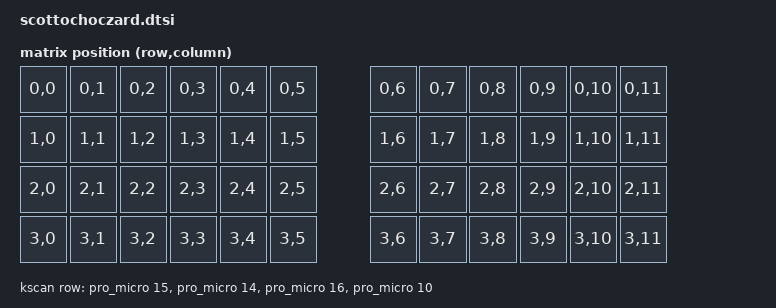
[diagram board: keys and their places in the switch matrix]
#include <physical_layouts.dtsi>
#include <dt-bindings/zmk/matrix_transform.h>

/ {
    chosen {
        zmk,physical-layout = &layout;
    };

    kscan: kscan {
        compatible = "zmk,kscan-gpio-matrix";
        diode-direction = "col2row";

        row-gpios = <&pro_micro 15 (GPIO_ACTIVE_HIGH | GPIO_PULL_DOWN)>,
                    <&pro_micro 14 (GPIO_ACTIVE_HIGH | GPIO_PULL_DOWN)>,
                    <&pro_micro 16 (GPIO_ACTIVE_HIGH | GPIO_PULL_DOWN)>,
                    <&pro_micro 10 (GPIO_ACTIVE_HIGH | GPIO_PULL_DOWN)>;
    };

    transform: matrix_transform {
        compatible = "zmk,matrix-transform";
        rows = <4>;
        columns = <12>;

        map = <
                RC(0, 0) RC(0, 1) RC(0, 2) RC(0, 3) RC(0, 4) RC(0, 5) RC(0, 6) RC(0, 7) RC(0, 8) RC(0, 9) RC(0, 10) RC(0, 11)
                RC(1, 0) RC(1, 1) RC(1, 2) RC(1, 3) RC(1, 4) RC(1, 5) RC(1, 6) RC(1, 7) RC(1, 8) RC(1, 9) RC(1, 10) RC(1, 11)
                RC(2, 0) RC(2, 1) RC(2, 2) RC(2, 3) RC(2, 4) RC(2, 5) RC(2, 6) RC(2, 7) RC(2, 8) RC(2, 9) RC(2, 10) RC(2, 11)
                RC(3, 0) RC(3, 1) RC(3, 2) RC(3, 3) RC(3, 4) RC(3, 5) RC(3, 6) RC(3, 7) RC(3, 8) RC(3, 9) RC(3, 10) RC(3, 11)
        >;
    };

    layout: layout {
        compatible = "zmk,physical-layout";
        display-name = "Split Ortho 4x6";
        transform = <&transform>;
        kscan = <&kscan>;

        keys  //                     w   h    x    y     rot    rx    ry
            = <&key_physical_attrs 100 100    0    0       0     0     0>
            , <&key_physical_attrs 100 100  100    0       0     0     0>
            , <&key_physical_attrs 100 100  200    0       0     0     0>
            , <&key_physical_attrs 100 100  300    0       0     0     0>
            , <&key_physical_attrs 100 100  400    0       0     0     0>
            , <&key_physical_attrs 100 100  500    0       0     0     0>
            , <&key_physical_attrs 100 100  700    0       0     0     0>
            , <&key_physical_attrs 100 100  800    0       0     0     0>
            , <&key_physical_attrs 100 100  900    0       0     0     0>
            , <&key_physical_attrs 100 100 1000    0       0     0     0>
            , <&key_physical_attrs 100 100 1100    0       0     0     0>
            , <&key_physical_attrs 100 100 1200    0       0     0     0>
            , <&key_physical_attrs 100 100    0  100       0     0     0>
            , <&key_physical_attrs 100 100  100  100       0     0     0>
            , <&key_physical_attrs 100 100  200  100       0     0     0>
            , <&key_physical_attrs 100 100  300  100       0     0     0>
            , <&key_physical_attrs 100 100  400  100       0     0     0>
            , <&key_physical_attrs 100 100  500  100       0     0     0>
            , <&key_physical_attrs 100 100  700  100       0     0     0>
            , <&key_physical_attrs 100 100  800  100       0     0     0>
            , <&key_physical_attrs 100 100  900  100       0     0     0>
            , <&key_physical_attrs 100 100 1000  100       0     0     0>
            , <&key_physical_attrs 100 100 1100  100       0     0     0>
            , <&key_physical_attrs 100 100 1200  100       0     0     0>
            , <&key_physical_attrs 100 100    0  200       0     0     0>
            , <&key_physical_attrs 100 100  100  200       0     0     0>
            , <&key_physical_attrs 100 100  200  200       0     0     0>
            , <&key_physical_attrs 100 100  300  200       0     0     0>
            , <&key_physical_attrs 100 100  400  200       0     0     0>
            , <&key_physical_attrs 100 100  500  200       0     0     0>
            , <&key_physical_attrs 100 100  700  200       0     0     0>
            , <&key_physical_attrs 100 100  800  200       0     0     0>
            , <&key_physical_attrs 100 100  900  200       0     0     0>
            , <&key_physical_attrs 100 100 1000  200       0     0     0>
            , <&key_physical_attrs 100 100 1100  200       0     0     0>
            , <&key_physical_attrs 100 100 1200  200       0     0     0>
            , <&key_physical_attrs 100 100    0  300       0     0     0>
            , <&key_physical_attrs 100 100  100  300       0     0     0>
            , <&key_physical_attrs 100 100  200  300       0     0     0>
            , <&key_physical_attrs 100 100  300  300       0     0     0>
            , <&key_physical_attrs 100 100  400  300       0     0     0>
            , <&key_physical_attrs 100 100  500  300       0     0     0>
            , <&key_physical_attrs 100 100  700  300       0     0     0>
            , <&key_physical_attrs 100 100  800  300       0     0     0>
            , <&key_physical_attrs 100 100  900  300       0     0     0>
            , <&key_physical_attrs 100 100 1000  300       0     0     0>
            , <&key_physical_attrs 100 100 1100  300       0     0     0>
            , <&key_physical_attrs 100 100 1200  300       0     0     0>
            ;
    };
};
